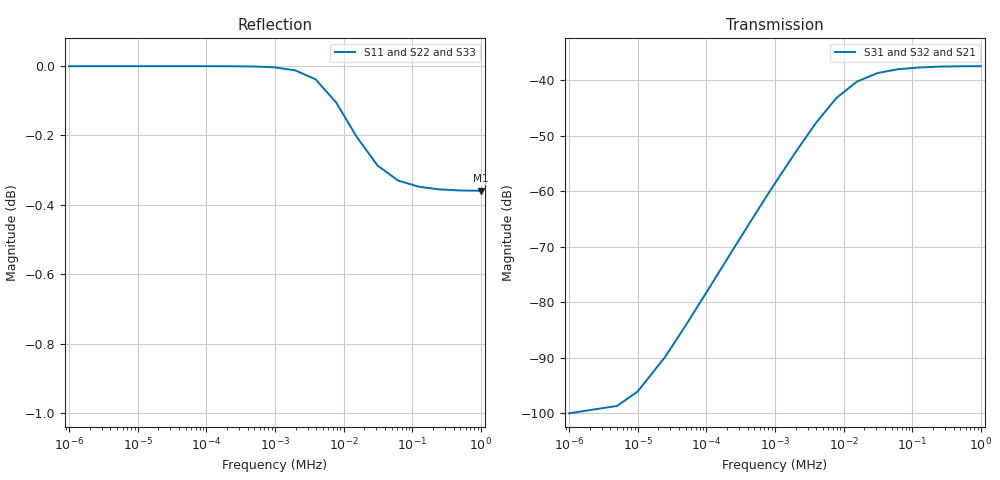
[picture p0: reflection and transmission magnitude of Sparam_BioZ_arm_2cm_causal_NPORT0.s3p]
!Generated from: BroadbandSPICE
! 1
! 2
! 3
!BroadbandSPICE Version: 17.1.4.06301.98715  004
!Computer Host Name: s2424
!TouchstoneFormatFlag = 1
#	Hz	S	RI	R	50
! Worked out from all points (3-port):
!   21 points, 1 Hz to 1 MHz, reference 50 ohm
!   strongest paths, dB at 1 Hz, 75 Hz, 976.6 Hz, 31.25 kHz, 1 MHz:
!     S31: -100.0, -80.7, -58.8, -38.7, -37.5
!     S32: -100.0, -81.0, -58.9, -38.5, -37.4
!     S21: -100.0, -80.9, -58.9, -38.4, -37.4
!   lowest |S11| = -0.4 dB at 1 MHz (marker M1), VSWR 48.26, Z = 2.41e+03 - j44 ohm
!   |S11| at or under -10 dB: nowhere
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1  0.9999 -3.55e-06  9.91e-06 1.18e-06  9.91e-06 1.2e-06
   9.91e-06 1.19e-06  0.9999 -3.5e-06  9.91e-06 1.19e-06
   9.91e-06 1.22e-06  9.91e-06 1.18e-06  0.9999 -3.5e-06
75  0.9999 -0.000266  1.07e-05 8.81e-05  1.08e-05 9.01e-05
    1.08e-05 8.91e-05  0.9999 -0.000262  1.07e-05 8.89e-05
    1.1e-05 9.14e-05  1.07e-05 8.87e-05  0.9999 -0.000263
100  0.9999 -0.000355  1.13e-05 0.000117  1.15e-05 0.00012
     1.15e-05 0.000119  0.9999 -0.00035  1.14e-05 0.000119
     1.18e-05 0.000122  1.14e-05 0.000118  0.9999 -0.00035
1953.13  0.9985 -0.00639  0.000459 0.00216  0.000504 0.00216
         0.000464 0.00215  0.9985 -0.00642  0.000476 0.00215
         0.000511 0.00214  0.000476 0.00215  0.9985 -0.00642
3906.25  0.9955 -0.0114  0.00148 0.00384  0.00155 0.00379
         0.00148 0.00384  0.9955 -0.0115  0.00151 0.00382
         0.00154 0.00378  0.00151 0.00382  0.9955 -0.0115
7812.5  0.9877 -0.0168  0.00407 0.00569  0.00411 0.00553
        0.00408 0.0057  0.9878 -0.0169  0.00408 0.00563
        0.0041 0.00554  0.00408 0.00563  0.9878 -0.0169
15625  0.9764 -0.0177  0.00791 0.00604  0.00781 0.00577
       0.00791 0.00603  0.9764 -0.0179  0.00786 0.00593
       0.00781 0.00577  0.00786 0.00593  0.9764 -0.0179
31250  0.9674 -0.0136  0.0111 0.00466  0.0107 0.00442
       0.0111 0.00466  0.9671 -0.0138  0.0109 0.00456
       0.0107 0.00441  0.0109 0.00456  0.9671 -0.0138
62500  0.9626 -0.00853  0.0127 0.00284  0.0122 0.00278
       0.0127 0.00284  0.9622 -0.00857  0.0125 0.00281
       0.0122 0.00279  0.0125 0.00281  0.9622 -0.00858
1000000  0.9594 -0.000725  0.0135 0.000208  0.0134 0.000245
         0.0135 0.000209  0.9593 -0.000689  0.0135 0.000225
         0.0134 0.000245  0.0135 0.000224  0.9593 -0.00069
